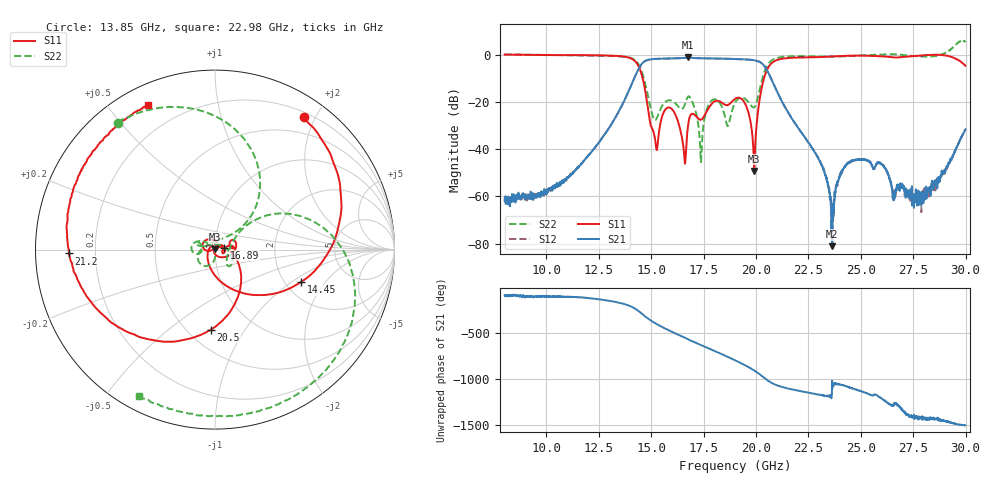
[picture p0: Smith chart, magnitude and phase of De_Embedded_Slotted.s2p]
!Agilent Technologies,N5247A,US51370446,A.10.00.00
!Agilent N5247A: A.10.00.00
!Date: Tuesday, October 16, 2018 05:21:46
!Correction: S11(Full 2 Port(1,2))
!S21(Full 2 Port(1,2))
!S12(Full 2 Port(1,2))
!S22(Full 2 Port(1,2))
!S2P File: Measurements: S11, S21, S12, S22:
# Hz S  RI  R 50
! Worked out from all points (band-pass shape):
!   1999 points, 8.011 GHz to 29.99 GHz, reference 50 ohm
!   highest |S21| = -1.10 dB at 16.77 GHz (marker M1); lowest = -81.1 dB at 23.64 GHz (marker M2)
!   |S21| within 3 dB of the highest: 14.54 GHz to 20.33 GHz (5.795 GHz wide, 33.2 % of centre)
!   lowest |S11| = -49.3 dB at 19.92 GHz (marker M3), VSWR 1.01, Z = 49.8 + j0.261 ohm
!   |S11| at or under -10 dB: 14.59 GHz to 20.38 GHz (5.788 GHz wide, 33.1 % of centre)
!   |S22| runs from -45.5 to 6.0 dB; largest |S21 - S12| = 0.0036
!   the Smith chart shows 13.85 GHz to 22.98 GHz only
!   S11 on the Smith chart (normalised r, x): 13.85 GHz: 0.27, +1.85; 14.45 GHz: 2.42, -1.19; 16.89 GHz: 1.11, +0.02; 20.5 GHz: 0.64, -0.72; 21.2 GHz: 0.10, -0.01; 22.98 GHz: 0.08, +0.64
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8.011e9  -0.802 -0.6038  9.75e-05 -0.000819  1.6e-05 -0.000951  0.1404 -0.9999
1.1674e10  -0.7568 0.6204  -0.00144 -0.0047  -0.00144 -0.00477  -0.7983 -0.5397
1.3852e10  0.4946 0.7364  -0.14 0.0234  -0.1399 0.0231  -0.5419 0.7078
1.4446e10  0.4785 -0.1809  -0.0526 0.5406  -0.0526 0.5403  0.2141 0.5343
1.5337e10  -0.0161 -0.00272  0.5535 -0.6054  0.5535 -0.606  -0.0471 0.0252
1.5788e10  -0.0686 0.0318  -0.1605 -0.8128  -0.161 -0.8135  -0.1023 0.0314
1.6767e10  0.0196 0.0266  -0.7966 0.3766  -0.7961 0.3764  -0.1301 -0.00139
1.6888e10  0.0523 0.0106  -0.6734 0.5445  -0.6728 0.5444  -0.1099 0.0413
1.7372e10  0.0408 -0.00855  -0.045 0.8389  -0.0456 0.8395  -0.00501 -0.00168
1.8131e10  0.1051 0.0127  0.791 0.2478  0.7907 0.2476  -0.0938 -0.0589
1.9e10  0.1022 0.0542  0.2278 -0.7767  0.2282 -0.7769  0.0905 -0.0293
1.9924e10  -0.00221 0.00262  -0.7559 0.0896  -0.7559 0.0901  0.0767 -0.00943
2.0496e10  -0.0221 -0.4455  0.1164 0.4825  0.1167 0.4813  0.5157 0.1718
2.12e10  -0.8124 -0.0217  0.1102 -0.0051  0.1101 -0.00544  0.7075 -0.5447
2.2663e10  -0.4799 0.7393  0.00289 -0.0104  0.00286 -0.0103  -0.1882 -0.9044
2.2982e10  -0.3733 0.8069  0.000142 -0.00623  0.000228 -0.00628  -0.4207 -0.8131
2.3642e10  -0.2014 0.8932  8.21e-05 -3.16e-05  0.000207 -2.52e-05  -0.7944 -0.4521
2.4467e10  -0.0784 0.9462  0.00529 -0.0012  0.00511 -0.000952  -0.9368 0.0385
2.6326e10  0.5697 0.6968  -0.00282 0.000312  -0.00275 0.000289  -1.014 0.1208
2.7965e10  0.9247 -0.2893  0.000963 -6.02e-05  0.00122 0.000381  -0.842 0.3566
2.9285e10  0.7786 -0.4654  0.00531 -0.00351  0.00465 -0.00349  -0.7119 1.097
2.9989e10  0.486 -0.3189  0.011 -0.0238  0.0104 -0.0229  -1.643 0.8333
